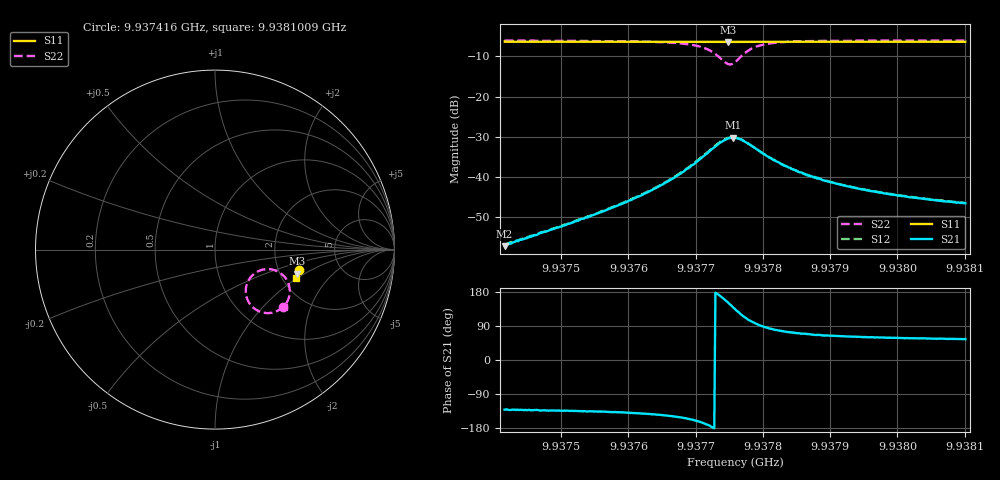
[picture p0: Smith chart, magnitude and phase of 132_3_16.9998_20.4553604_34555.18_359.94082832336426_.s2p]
#  HZ  S  RI  R  50.00
! Rohde & Schwarz Vector Network Analyzer
! Rohde-Schwarz,ZNB20-2Port,1311601062101988,3.16
! Created: UTC 3/20/2024, 10:58:00 PM
! freq[Hz]  re:S11  im:S11  re:S21  im:S21  re:S12  im:S12  re:S22  im:S22
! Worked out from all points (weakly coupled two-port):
!   401 points, 9.937416 GHz to 9.9381009 GHz, reference 50 ohm
!   highest |S21| = -30.25 dB at 9.9377551 GHz (marker M1); lowest = -57.2 dB at 9.937416 GHz (marker M2)
!   lowest |S11| = -6.4 dB at 9.9377482 GHz (marker M3), VSWR 2.83, Z = 124 - j43.2 ohm
!   |S11| at or under -10 dB: nowhere
!   |S22| runs from -12.0 to -6.0 dB; largest |S21 - S12| = 0.0015
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9.93741604e9  0.4694 -0.1139  -0.000906 -0.00104  -0.000947 -0.00105  0.3807 -0.3191
9.93753077e9  0.4668 -0.1217  -0.00213 -0.00215  -0.00218 -0.00211  0.3645 -0.3318
9.93759412e9  0.4652 -0.1261  -0.00358 -0.00316  -0.00369 -0.00314  0.3482 -0.3412
9.93764549e9  0.4638 -0.1293  -0.00622 -0.00447  -0.00642 -0.0044  0.3231 -0.3503
9.93767973e9  0.4626 -0.1321  -0.01 -0.00533  -0.0103 -0.00522  0.2893 -0.3535
9.93770884e9  0.4611 -0.1341  -0.0167 -0.00445  -0.0172 -0.00428  0.2353 -0.3388
9.93772767e9  0.4599 -0.1349  -0.0234 -6.12e-06  -0.024 0.000768  0.1871 -0.2913
9.93773966e9  0.459 -0.1348  -0.0266 0.00732  -0.0271 0.00844  0.1713 -0.228
9.93774822e9  0.4585 -0.1346  -0.0264 0.0143  -0.0263 0.0158  0.1863 -0.1726
9.93775507e9  0.4587 -0.1342  -0.0235 0.0197  -0.0232 0.0209  0.218 -0.1348
9.9377585e9  0.4588 -0.1343  -0.0215 0.0218  -0.0207 0.023  0.2385 -0.1218
9.93776706e9  0.4592 -0.1343  -0.015 0.0252  -0.0141 0.0258  0.2938 -0.1084
9.93777733e9  0.4601 -0.1347  -0.0078 0.0249  -0.00703 0.0254  0.3483 -0.1213
9.93779616e9  0.4604 -0.1364  -0.000271 0.0206  0.000371 0.0207  0.3993 -0.1684
9.93783041e9  0.4603 -0.1392  0.00335 0.0136  0.00374 0.0137  0.4167 -0.2299
9.93784753e9  0.4599 -0.1407  0.00398 0.0115  0.00407 0.0115  0.4157 -0.2479
9.93787322e9  0.4594 -0.1425  0.00402 0.00929  0.00407 0.00927  0.4118 -0.2663
9.93789205e9  0.459 -0.144  0.00391 0.00803  0.00398 0.00817  0.4087 -0.2759
9.93792972e9  0.458 -0.1466  0.00354 0.00666  0.00372 0.00666  0.4028 -0.2895
9.93798794e9  0.4565 -0.1504  0.00316 0.0052  0.00329 0.00521  0.3949 -0.303
9.93804787e9  0.4549 -0.1543  0.00288 0.00437  0.00302 0.00437  0.3885 -0.3124
9.93810094e9  0.4536 -0.1579  0.00267 0.00387  0.0028 0.00385  0.3836 -0.3185
